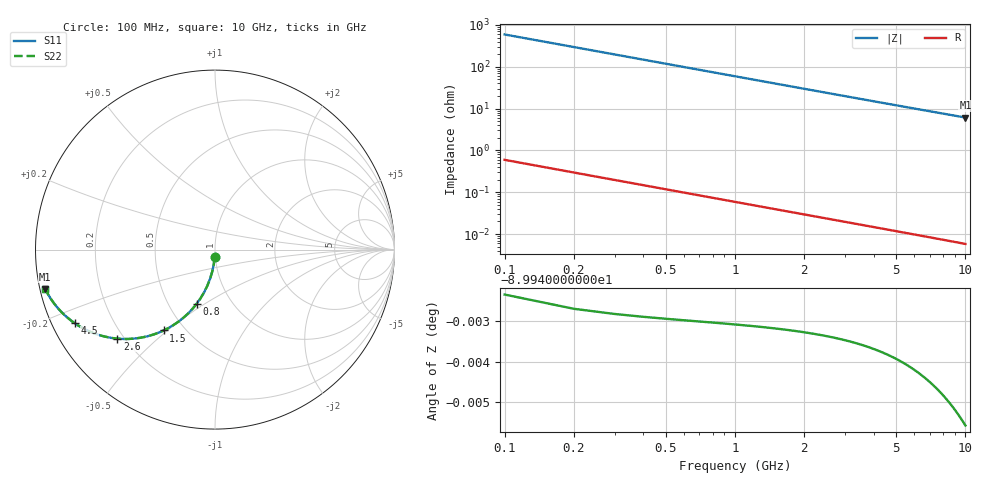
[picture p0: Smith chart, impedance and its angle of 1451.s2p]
# Hz S RI R 50.00
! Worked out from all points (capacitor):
!   100 points, 100 MHz to 10 GHz, reference 50 ohm
!   read as one part in shunt: C = 2.69 pF near 100 MHz
!   lowest |Z| = 6.12 ohm at 10 GHz (marker M1)
!   S11 on the Smith chart (normalised r, x): 100 MHz: 0.99, -0.08; 800 MHz: 0.69, -0.46; 1.5 GHz: 0.39, -0.49; 2.6 GHz: 0.17, -0.38; 4.5 GHz: 0.07, -0.25; 10 GHz: 0.01, -0.11
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1e8  -0.00182 -0.0421  0.9982 -0.0422  0.9982 -0.0422  -0.00182 -0.0421
2e8  -0.00716 -0.0838  0.9928 -0.084  0.9928 -0.084  -0.00716 -0.0838
3e8  -0.0159 -0.1245  0.9841 -0.1249  0.9841 -0.1249  -0.0159 -0.1245
4e8  -0.0279 -0.164  0.9721 -0.1645  0.9721 -0.1645  -0.0279 -0.164
5e8  -0.0429 -0.2018  0.9571 -0.2024  0.9571 -0.2024  -0.0429 -0.2018
6e8  -0.0605 -0.2376  0.9395 -0.2383  0.9395 -0.2383  -0.0605 -0.2376
8e8  -0.1026 -0.3025  0.8974 -0.3034  0.8974 -0.3034  -0.1026 -0.3025
9e8  -0.1263 -0.3312  0.8737 -0.3322  0.8737 -0.3322  -0.1263 -0.3312
1.1e9  -0.1774 -0.3809  0.8226 -0.3822  0.8226 -0.3822  -0.1774 -0.3809
1.3e9  -0.2313 -0.4204  0.7687 -0.4219  0.7687 -0.4219  -0.2313 -0.4204
1.5e9  -0.2857 -0.4504  0.7142 -0.4522  0.7142 -0.4522  -0.2857 -0.4504
1.8e9  -0.3651 -0.4799  0.6349 -0.482  0.6349 -0.482  -0.3651 -0.4799
2.2e9  -0.4616 -0.4967  0.5384 -0.4993  0.5384 -0.4993  -0.4616 -0.4967
2.6e9  -0.5444 -0.496  0.4556 -0.4991  0.4556 -0.4991  -0.5444 -0.496
3e9  -0.6136 -0.4846  0.3864 -0.4882  0.3864 -0.4882  -0.6136 -0.4846
3.4e9  -0.6706 -0.4674  0.3293 -0.4715  0.3293 -0.4715  -0.6706 -0.4674
3.9e9  -0.7278 -0.4422  0.2722 -0.4469  0.2722 -0.4469  -0.7278 -0.4422
4.5e9  -0.7804 -0.4108  0.2196 -0.4162  0.2196 -0.4162  -0.7804 -0.4108
5.1e9  -0.82 -0.3806  0.1799 -0.3867  0.1799 -0.3867  -0.82 -0.3806
6.7e9  -0.8869 -0.3121  0.113 -0.3202  0.113 -0.3202  -0.8869 -0.3121
8.4e9  -0.9249 -0.2578  0.075 -0.2681  0.075 -0.2681  -0.9249 -0.2578
1e10  -0.9459 -0.2195  0.054 -0.2318  0.054 -0.2318  -0.9459 -0.2195
